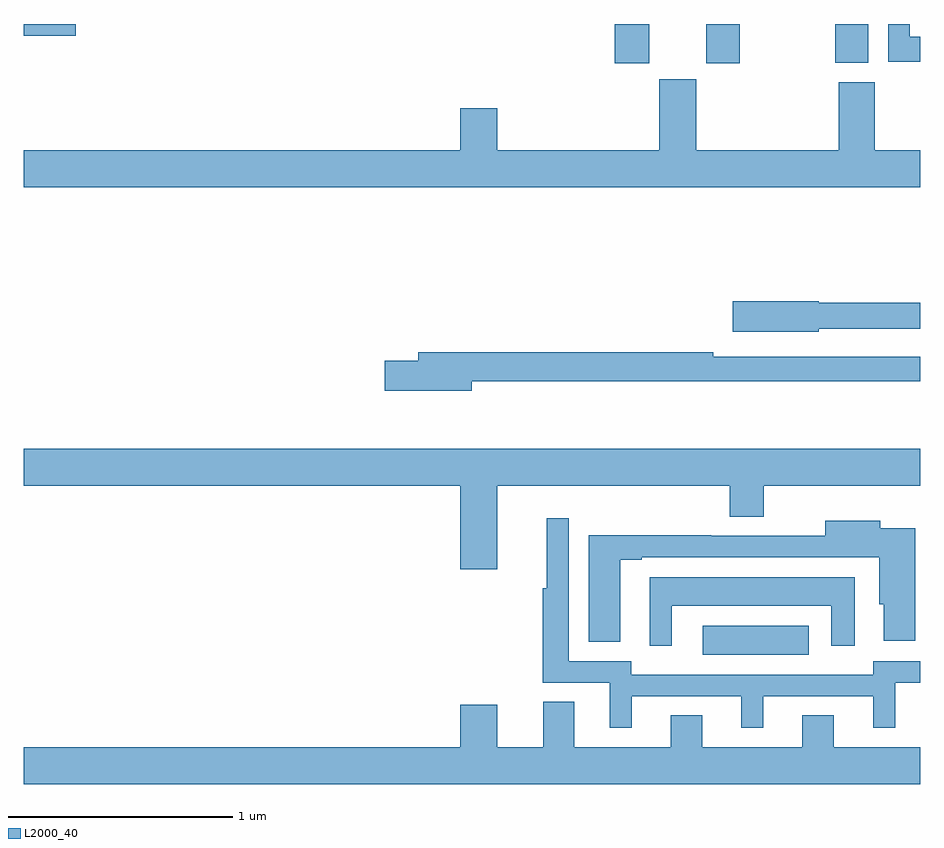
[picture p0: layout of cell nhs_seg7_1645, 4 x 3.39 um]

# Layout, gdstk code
import gdstk
lib = gdstk.Library(unit=1e-6, precision=1e-09)
def R(c, l, rs):  # rectangles x0, y0, x1, y1
    for r in rs: c.add(gdstk.rectangle(r[:2], r[2:], *l))
def P(c, l, *ps):  # polygons
    for p in ps: c.add(gdstk.Polygon(p, *l))
L2000_40 = (2000, 40)

nhs_seg7_1645 = lib.new_cell('nhs_seg7_1645')
R(nhs_seg7_1645, L2000_40, [(226.029,1009.184,226.504,1009.315), (225.638,1011.825,225.79,1012), (226.046,1011.825,226.194,1012), (226.621,1011.826,226.768,1012), (223,1011.947,223.231,1012)])
P(nhs_seg7_1645, L2000_40, [(227,1011.943),(226.953,1011.943),(226.953,1012),(226.857,1012),(226.857,1011.832),(227,1011.832)],
  [(227,1011.436),(226.797,1011.436),(226.797,1011.741),(226.637,1011.741),(226.637,1011.436),(226,1011.436),(226,1011.753),(225.836,1011.753),(225.836,1011.436),(225.112,1011.436),(225.112,1011.625),(224.948,1011.625),(224.948,1011.436),(223,1011.436),(223,1011.272),(227,1011.272)],
  [(226.548,1010.64),(227,1010.64),(227,1010.756),(226.548,1010.756),(226.548,1010.762),(226.164,1010.762),(226.164,1010.627),(226.548,1010.627)],
  [(224.998,1010.406),(227,1010.406),(227,1010.514),(226.076,1010.514),(226.076,1010.534),(224.759,1010.534),(224.759,1010.498),(224.61,1010.498),(224.61,1010.363),(224.998,1010.363)],
  [(225.112,1009.94),(226.151,1009.94),(226.151,1009.801),(226.303,1009.801),(226.303,1009.94),(227,1009.94),(227,1010.104),(223,1010.104),(223,1009.94),(224.948,1009.94),(224.948,1009.566),(225.112,1009.566)],
  [(225.712,1008.999),(226.202,1008.999),(226.202,1008.858),(226.3,1008.858),(226.3,1008.999),(226.79,1008.999),(226.79,1008.858),(226.888,1008.858),(226.888,1009.059),(227,1009.059),(227,1009.155),(226.791,1009.155),(226.791,1009.095),(225.711,1009.095),(225.711,1009.155),(225.432,1009.155),(225.432,1009.795),(225.334,1009.795),(225.334,1009.482),(225.316,1009.482),(225.316,1009.059),(225.614,1009.059),(225.614,1008.858),(225.712,1008.858)],
  [(225.661,1009.608),(225.757,1009.608),(225.757,1009.62),(226.817,1009.62),(226.817,1009.41),(226.838,1009.41),(226.838,1009.248),(226.978,1009.248),(226.978,1009.75),(226.822,1009.75),(226.822,1009.783),(226.577,1009.783),(226.577,1009.716),(226.067,1009.716),(226.067,1009.719),(225.521,1009.719),(225.521,1009.242),(225.661,1009.242)],
  [(225.892,1009.403),(226.604,1009.403),(226.604,1009.224),(226.708,1009.224),(226.708,1009.531),(225.794,1009.531),(225.794,1009.224),(225.892,1009.224)],
  [(227,1008.772),(226.615,1008.772),(226.615,1008.914),(226.475,1008.914),(226.475,1008.772),(226.027,1008.772),(226.027,1008.914),(225.887,1008.914),(225.887,1008.772),(225.457,1008.772),(225.457,1008.974),(225.317,1008.974),(225.317,1008.772),(225.112,1008.772),(225.112,1008.961),(224.948,1008.961),(224.948,1008.772),(223,1008.772),(223,1008.608),(227,1008.608)])

lib.write_gds('nhs_seg7_1645.gds')
